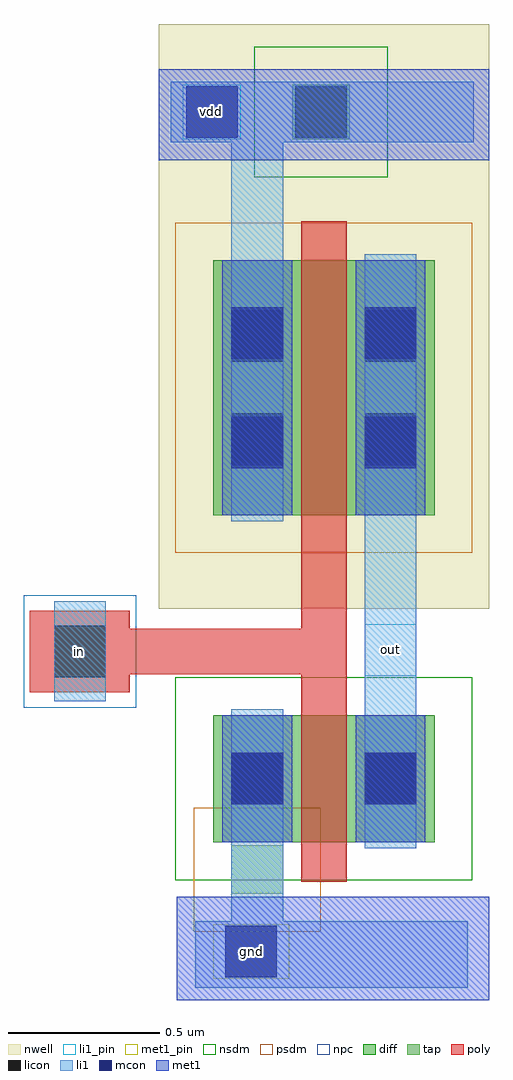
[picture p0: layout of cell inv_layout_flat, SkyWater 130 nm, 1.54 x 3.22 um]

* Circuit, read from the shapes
.subckt inv_layout_flat gnd in out vdd
XM1 out in gnd VSUBS sky130_fd_pr__nfet_01v8 w=0.42 l=0.15
XM2 out in vdd vdd sky130_fd_pr__pfet_01v8 w=0.84 l=0.15
.ends

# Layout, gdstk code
import gdstk
lib = gdstk.Library(unit=1e-6, precision=1e-09)
def R(c, l, rs):  # rectangles x0, y0, x1, y1
    for r in rs: c.add(gdstk.rectangle(r[:2], r[2:], *l))
nwell = (64, 20)
diff = (65, 20)
tap = (65, 44)
poly = (66, 20)
licon = (66, 44)
li1_pin = (67, 16)
li1 = (67, 20)
mcon = (67, 44)
met1_pin = (68, 16)
met1 = (68, 20)
nsdm = (93, 44)
psdm = (94, 20)
npc = (95, 20)

inv_layout_flat = lib.new_cell('inv_layout_flat')
R(inv_layout_flat, nwell, [(-0.03,0.02,1.06,1.95)])
R(inv_layout_flat, diff, [(0.15,-0.75,0.88,-0.33), (0.15,0.33,0.88,1.17)])
R(inv_layout_flat, tap, [(0.21,-0.92,0.38,-0.76), (0.41,1.57,0.6,1.75)])
R(inv_layout_flat, poly, [(0.44,-0.88,0.59,-0.195), (-0.455,-0.255,-0.125,-0.195), (-0.455,-0.195,0.59,-0.045), (-0.455,-0.045,-0.125,0.015), (0.44,-0.045,0.59,1.3)])
R(inv_layout_flat, licon, [(0.21,-0.625,0.38,-0.455), (0.65,-0.625,0.82,-0.455), (-0.375,-0.205,-0.205,-0.035), (0.21,0.495,0.38,0.665), (0.65,0.495,0.82,0.665), (0.21,0.835,0.38,1.005), (0.65,0.835,0.82,1.005), (0.42,1.575,0.59,1.745)])
R(inv_layout_flat, li1_pin, [(-0.375,-0.205,-0.205,-0.035), (0.65,-0.2,0.82,-0.03), (0.05,1.57,0.24,1.75)])
R(inv_layout_flat, li1, [(0.09,-1.23,0.99,-1.01), (0.21,-1.01,0.38,-0.31), (0.65,-0.77,0.82,1.19), (-0.375,-0.285,-0.205,0.045), (0.21,0.31,0.38,1.56), (0.01,1.56,1.01,1.76)])
R(inv_layout_flat, mcon, [(0.19,-1.195,0.36,-1.025), (0.21,-0.625,0.38,-0.455), (0.65,-0.625,0.82,-0.455), (0.21,0.485,0.38,0.655), (0.65,0.485,0.82,0.655), (0.21,0.845,0.38,1.015), (0.65,0.845,0.82,1.015), (0.06,1.575,0.23,1.745)])
R(inv_layout_flat, met1_pin, [(0.15,-1.2,0.4,-1.02)])
R(inv_layout_flat, met1, [(0.03,-1.27,1.06,-0.93), (0.18,-0.75,0.41,-0.33), (0.62,-0.75,0.85,-0.33), (0.18,0.33,0.41,1.17), (0.62,0.33,0.85,1.17), (-0.03,1.5,1.06,1.8)])
R(inv_layout_flat, nsdm, [(0.025,-0.875,1.005,-0.205), (0.285,1.445,0.725,1.875)])
R(inv_layout_flat, psdm, [(0.085,-1.045,0.505,-0.635), (0.025,0.205,1.005,1.295)])
R(inv_layout_flat, npc, [(-0.475,-0.305,-0.105,0.065)])
inv_layout_flat.add(gdstk.Label('out', (0.735,-0.115), layer=67, texttype=5))
inv_layout_flat.add(gdstk.Label('in', (-0.29,-0.12), layer=67, texttype=5))
inv_layout_flat.add(gdstk.Label('vdd', (0.145,1.66), layer=67, texttype=5))
inv_layout_flat.add(gdstk.Label('gnd', (0.275,-1.11), layer=68, texttype=5))

lib.write_gds('inv_layout_flat.gds')
